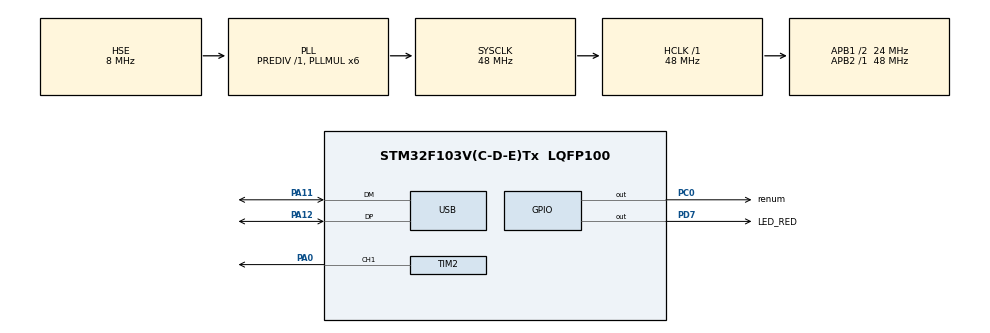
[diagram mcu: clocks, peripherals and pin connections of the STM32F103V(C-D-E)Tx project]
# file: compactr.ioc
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Mcu.Family=STM32F1
Mcu.Name=STM32F103V(C-D-E)Tx
Mcu.Package=LQFP100
NVIC.PriorityGroup=NVIC_PRIORITYGROUP_4
NVIC.USB_LP_CAN1_RX0_IRQn=true\:0\:0\:false\:false\:true\:false\:true\:true
OSC_IN.Mode=HSE-External-Oscillator
OSC_IN.Signal=RCC_OSC_IN
OSC_OUT.Mode=HSE-External-Oscillator
OSC_OUT.Signal=RCC_OSC_OUT
PA0-WKUP.Signal=S_TIM2_CH1_ETR
PA11.Mode=Device
PA11.Signal=USB_DM
PA12.Mode=Device
PA12.Signal=USB_DP
PA13.Mode=Trace_Asynchronous_SW
PA13.Signal=SYS_JTMS-SWDIO
PA14.Mode=Trace_Asynchronous_SW
PA14.Signal=SYS_JTCK-SWCLK
PB3.Mode=Trace_Asynchronous_SW
PB3.Signal=SYS_JTDO-TRACESWO
PC0.GPIO_Label=renum
PC0.Signal=GPIO_Output
PD7.GPIO_Label=LED_RED
PD7.Signal=GPIO_Output
ProjectManager.HeapSize=0x200
ProjectManager.StackSize=0x400
ProjectManager.TargetToolchain=Makefile
RCC.AHBFreq_Value=48000000
RCC.APB1CLKDivider=RCC_HCLK_DIV2
RCC.APB1Freq_Value=24000000
RCC.APB1TimFreq_Value=48000000
RCC.APB2Freq_Value=48000000
RCC.APB2TimFreq_Value=48000000
RCC.HCLKFreq_Value=48000000
RCC.PLLMUL=RCC_PLL_MUL6
RCC.SYSCLKFreq_VALUE=48000000
RCC.SYSCLKSource=RCC_SYSCLKSOURCE_PLLCLK
RCC.USBFreq_Value=48000000
SH.S_TIM2_CH1_ETR.0=TIM2_CH1,PWM Generation1 CH1
TIM2.Channel-PWM\ Generation1\ CH1=TIM_CHANNEL_1
TIM2.Period=40000
USB_DEVICE.CLASS_NAME_FS=CDC
USB_DEVICE.CONFIGURATION_STRING_CDC_FS=CompactrIoT Config
USB_DEVICE.INTERFACE_STRING_CDC_FS=CompactrIoT Interface
USB_DEVICE.MANUFACTURER_STRING=Traboda
USB_DEVICE.PRODUCT_STRING_CDC_FS=CompactrIoT
USB_DEVICE.VirtualMode=Cdc
USB_DEVICE.VirtualModeFS=Cdc_FS
VP_TIM2_VS_ClockSourceINT.Mode=Internal
VP_USB_DEVICE_VS_USB_DEVICE_CDC_FS.Mode=CDC_FS
board=custom

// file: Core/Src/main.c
/* USER CODE BEGIN Header */
/**
 ******************************************************************************
 * @file           : main.c
 * @brief          : Main program body
 ******************************************************************************
 * @attention
 *
 * Copyright (c) 2022 STMicroelectronics.
 * All rights reserved.
 *
 * This software is licensed under terms that can be found in the LICENSE file
 * in the root directory of this software component.
 * If no LICENSE file comes with this software, it is provided AS-IS.
 *
 ******************************************************************************
 */
/* USER CODE END Header */
#include "main.h"
#include "usb_device.h"

/* USER CODE BEGIN Includes */
#include "menu.h"
#include "usbd_cdc_if.h"
#include "usbd_core.h"

/* USER CODE END Includes */

TIM_HandleTypeDef htim2;

void SystemClock_Config(void);
static void MX_GPIO_Init(void);
static void MX_TIM2_Init(void);
/* USER CODE BEGIN PFP */
void cdc_init();
int cdc_send(uint8_t *buf, uint16_t len);
int cdc_recv(uint8_t *buf, uint16_t len);
void cdc_service();
/* USER CODE END PFP */

int main(void)
{

  /* MCU Configuration--------------------------------------------------------*/

  /* Reset of all peripherals, Initializes the Flash interface and the Systick. */
  HAL_Init();

  /* Configure the system clock */
  SystemClock_Config();

  /* Initialize all configured peripherals */
  MX_GPIO_Init();
  MX_USB_DEVICE_Init();
  MX_TIM2_Init();
  /* USER CODE BEGIN 2 */
  HAL_TIM_PWM_Start(&htim2, TIM_CHANNEL_1);

  /* USER CODE END 2 */

  /* Infinite loop */
  /* USER CODE BEGIN WHILE */
  uint8_t buf[1000];
  cdc_init();
  /* cdc_send("hellow\n", 7); */
  TIM2->CCR1 = 128;
  HAL_GPIO_TogglePin(LED_RED_GPIO_Port, LED_RED_Pin);
  while (1) {
    HAL_GPIO_TogglePin(LED_RED_GPIO_Port, LED_RED_Pin);
    HAL_Delay(200);
    menu_handler();
  }
    /* USER CODE END WHILE */

}

void SystemClock_Config(void)
{
  RCC_OscInitTypeDef RCC_OscInitStruct = {0};
  RCC_ClkInitTypeDef RCC_ClkInitStruct = {0};
  RCC_PeriphCLKInitTypeDef PeriphClkInit = {0};

  /** Initializes the RCC Oscillators according to the specified parameters
  * in the RCC_OscInitTypeDef structure.
  */
  RCC_OscInitStruct.OscillatorType = RCC_OSCILLATORTYPE_HSE;
  RCC_OscInitStruct.HSEState = RCC_HSE_ON;
  RCC_OscInitStruct.HSEPredivValue = RCC_HSE_PREDIV_DIV1;
  RCC_OscInitStruct.HSIState = RCC_HSI_ON;
  RCC_OscInitStruct.PLL.PLLState = RCC_PLL_ON;
  RCC_OscInitStruct.PLL.PLLSource = RCC_PLLSOURCE_HSE;
  RCC_OscInitStruct.PLL.PLLMUL = RCC_PLL_MUL6;
  if (HAL_RCC_OscConfig(&RCC_OscInitStruct) != HAL_OK)
  {
    Error_Handler();
  }

  /** Initializes the CPU, AHB and APB buses clocks
  */
  RCC_ClkInitStruct.ClockType = RCC_CLOCKTYPE_HCLK|RCC_CLOCKTYPE_SYSCLK
                              |RCC_CLOCKTYPE_PCLK1|RCC_CLOCKTYPE_PCLK2;
  RCC_ClkInitStruct.SYSCLKSource = RCC_SYSCLKSOURCE_PLLCLK;
  RCC_ClkInitStruct.AHBCLKDivider = RCC_SYSCLK_DIV1;
  RCC_ClkInitStruct.APB1CLKDivider = RCC_HCLK_DIV2;
  RCC_ClkInitStruct.APB2CLKDivider = RCC_HCLK_DIV1;

  if (HAL_RCC_ClockConfig(&RCC_ClkInitStruct, FLASH_LATENCY_1) != HAL_OK)
  {
    Error_Handler();
  }
  PeriphClkInit.PeriphClockSelection = RCC_PERIPHCLK_USB;
  PeriphClkInit.UsbClockSelection = RCC_USBCLKSOURCE_PLL;
  if (HAL_RCCEx_PeriphCLKConfig(&PeriphClkInit) != HAL_OK)
  {
    Error_Handler();
  }
}

static void MX_TIM2_Init(void)
{

  TIM_ClockConfigTypeDef sClockSourceConfig = {0};
  TIM_MasterConfigTypeDef sMasterConfig = {0};
  TIM_OC_InitTypeDef sConfigOC = {0};

  htim2.Instance = TIM2;
  htim2.Init.Prescaler = 0;
  htim2.Init.CounterMode = TIM_COUNTERMODE_UP;
  htim2.Init.Period = 40000;
  htim2.Init.ClockDivision = TIM_CLOCKDIVISION_DIV1;
  htim2.Init.AutoReloadPreload = TIM_AUTORELOAD_PRELOAD_DISABLE;
  if (HAL_TIM_Base_Init(&htim2) != HAL_OK)
  {
    Error_Handler();
  }
  sClockSourceConfig.ClockSource = TIM_CLOCKSOURCE_INTERNAL;
  if (HAL_TIM_ConfigClockSource(&htim2, &sClockSourceConfig) != HAL_OK)
  {
    Error_Handler();
  }
  if (HAL_TIM_PWM_Init(&htim2) != HAL_OK)
  {
    Error_Handler();
  }
  sMasterConfig.MasterOutputTrigger = TIM_TRGO_RESET;
  sMasterConfig.MasterSlaveMode = TIM_MASTERSLAVEMODE_DISABLE;
  if (HAL_TIMEx_MasterConfigSynchronization(&htim2, &sMasterConfig) != HAL_OK)
  {
    Error_Handler();
  }
  sConfigOC.OCMode = TIM_OCMODE_PWM1;
  sConfigOC.Pulse = 0;
  sConfigOC.OCPolarity = TIM_OCPOLARITY_HIGH;
  sConfigOC.OCFastMode = TIM_OCFAST_DISABLE;
  if (HAL_TIM_PWM_ConfigChannel(&htim2, &sConfigOC, TIM_CHANNEL_1) != HAL_OK)
  {
    Error_Handler();
  }
  HAL_TIM_MspPostInit(&htim2);

}

static void MX_GPIO_Init(void)
{
  GPIO_InitTypeDef GPIO_InitStruct = {0};

  /* GPIO Ports Clock Enable */
  __HAL_RCC_GPIOC_CLK_ENABLE();
  __HAL_RCC_GPIOA_CLK_ENABLE();
  __HAL_RCC_GPIOD_CLK_ENABLE();
  __HAL_RCC_GPIOB_CLK_ENABLE();

  /*Configure GPIO pin Output Level */
  HAL_GPIO_WritePin(renum_GPIO_Port, renum_Pin, GPIO_PIN_RESET);

  /*Configure GPIO pin Output Level */
  HAL_GPIO_WritePin(LED_RED_GPIO_Port, LED_RED_Pin, GPIO_PIN_RESET);

  /*Configure GPIO pin : renum_Pin */
  GPIO_InitStruct.Pin = renum_Pin;
  GPIO_InitStruct.Mode = GPIO_MODE_OUTPUT_PP;
  GPIO_InitStruct.Pull = GPIO_NOPULL;
  GPIO_InitStruct.Speed = GPIO_SPEED_FREQ_LOW;
  HAL_GPIO_Init(renum_GPIO_Port, &GPIO_InitStruct);

  /*Configure GPIO pin : LED_RED_Pin */
  GPIO_InitStruct.Pin = LED_RED_Pin;
  GPIO_InitStruct.Mode = GPIO_MODE_OUTPUT_PP;
  GPIO_InitStruct.Pull = GPIO_NOPULL;
  GPIO_InitStruct.Speed = GPIO_SPEED_FREQ_LOW;
  HAL_GPIO_Init(LED_RED_GPIO_Port, &GPIO_InitStruct);

}

void Error_Handler(void)
{
  __disable_irq();
  while (1) {
  }
}

#ifdef  USE_FULL_ASSERT
/**
  * @brief  Reports the name of the source file and the source line number
  *         where the assert_param error has occurred.
  * @param  file: pointer to the source file name
  * @param  line: assert_param error line source number
  * @retval None
  */
void assert_failed(uint8_t *file, uint32_t line)
{
  /* USER CODE BEGIN 6 */
  /* User can add his own implementation to report the file name and line
     number,
     ex: printf("Wrong parameters value: file %s on line %d\r\n", file, line) */
  /* USER CODE END 6 */
}
#endif /* USE_FULL_ASSERT */
